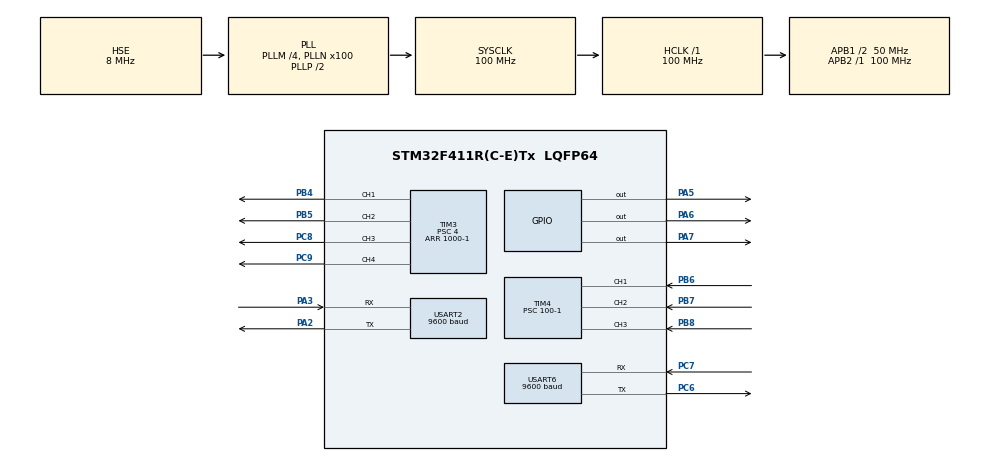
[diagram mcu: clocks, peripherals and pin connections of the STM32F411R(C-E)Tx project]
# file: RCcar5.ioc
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Mcu.Family=STM32F4
Mcu.Name=STM32F411R(C-E)Tx
Mcu.Package=LQFP64
NVIC.PriorityGroup=NVIC_PRIORITYGROUP_4
NVIC.TIM4_IRQn=true\:0\:0\:false\:false\:true\:true\:true\:true
NVIC.USART2_IRQn=true\:0\:0\:false\:false\:true\:true\:true\:true
NVIC.USART6_IRQn=true\:0\:0\:false\:false\:true\:true\:true\:true
PA13.Mode=Serial_Wire
PA13.Signal=SYS_JTMS-SWDIO
PA14.Mode=Serial_Wire
PA14.Signal=SYS_JTCK-SWCLK
PA2.Mode=Asynchronous
PA2.Signal=USART2_TX
PA3.Mode=Asynchronous
PA3.Signal=USART2_RX
PA5.GPIO_Speed=GPIO_SPEED_FREQ_VERY_HIGH
PA5.Signal=GPIO_Output
PA6.GPIO_Speed=GPIO_SPEED_FREQ_VERY_HIGH
PA6.Signal=GPIO_Output
PA7.GPIO_Speed=GPIO_SPEED_FREQ_VERY_HIGH
PA7.Signal=GPIO_Output
PB4.Signal=S_TIM3_CH1
PB5.Signal=S_TIM3_CH2
PB6.Signal=S_TIM4_CH1
PB7.Signal=S_TIM4_CH2
PB8.Signal=S_TIM4_CH3
PC6.Mode=Asynchronous
PC6.Signal=USART6_TX
PC7.Mode=Asynchronous
PC7.Signal=USART6_RX
PC8.Signal=S_TIM3_CH3
PC9.Signal=S_TIM3_CH4
PH0\ -\ OSC_IN.Mode=HSE-External-Oscillator
PH0\ -\ OSC_IN.Signal=RCC_OSC_IN
PH1\ -\ OSC_OUT.Mode=HSE-External-Oscillator
PH1\ -\ OSC_OUT.Signal=RCC_OSC_OUT
ProjectManager.HeapSize=0x200
ProjectManager.StackSize=0x400
ProjectManager.TargetToolchain=STM32CubeIDE
RCC.48MHZClocksFreq_Value=50000000
RCC.AHBFreq_Value=100000000
RCC.APB1CLKDivider=RCC_HCLK_DIV2
RCC.APB1Freq_Value=50000000
RCC.APB1TimFreq_Value=100000000
RCC.APB2Freq_Value=100000000
RCC.APB2TimFreq_Value=100000000
RCC.CortexFreq_Value=100000000
RCC.HCLKFreq_Value=100000000
RCC.HSE_VALUE=8000000
RCC.HSI_VALUE=16000000
RCC.LSE_VALUE=32768
RCC.PLLM=4
RCC.PLLN=100
RCC.PLLSourceVirtual=RCC_PLLSOURCE_HSE
RCC.SYSCLKFreq_VALUE=100000000
RCC.SYSCLKSource=RCC_SYSCLKSOURCE_PLLCLK
RCC.VCOOutputFreq_Value=200000000
SH.S_TIM3_CH1.0=TIM3_CH1,PWM Generation1 CH1
SH.S_TIM3_CH2.0=TIM3_CH2,PWM Generation2 CH2
SH.S_TIM3_CH3.0=TIM3_CH3,PWM Generation3 CH3
SH.S_TIM3_CH4.0=TIM3_CH4,PWM Generation4 CH4
SH.S_TIM4_CH1.0=TIM4_CH1,Input_Capture1_from_TI1
SH.S_TIM4_CH2.0=TIM4_CH2,Input_Capture2_from_TI2
SH.S_TIM4_CH3.0=TIM4_CH3,Input_Capture3_from_TI3
TIM11.Prescaler=100-1
TIM3.Channel-PWM\ Generation1\ CH1=TIM_CHANNEL_1
TIM3.Channel-PWM\ Generation2\ CH2=TIM_CHANNEL_2
TIM3.Channel-PWM\ Generation3\ CH3=TIM_CHANNEL_3
TIM3.Channel-PWM\ Generation4\ CH4=TIM_CHANNEL_4
TIM3.Period=1000-1
TIM3.Prescaler=4
TIM4.Channel-Input_Capture1_from_TI1=TIM_CHANNEL_1
TIM4.Channel-Input_Capture2_from_TI2=TIM_CHANNEL_2
TIM4.Channel-Input_Capture3_from_TI3=TIM_CHANNEL_3
TIM4.Prescaler=100-1
USART2.BaudRate=9600
USART2.VirtualMode=VM_ASYNC
USART6.BaudRate=9600
USART6.VirtualMode=VM_ASYNC
VP_TIM11_VS_ClockSourceINT.Mode=Enable_Timer
VP_TIM3_VS_ClockSourceINT.Mode=Internal
VP_TIM4_VS_ClockSourceINT.Mode=Internal
board=custom

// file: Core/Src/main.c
/* USER CODE BEGIN Header */
/**
  ******************************************************************************
  * @file           : main.c
  * @brief          : Main program body
  ******************************************************************************
  * @attention
  *
  * Copyright (c) 2025 STMicroelectronics.
  * All rights reserved.
  *
  * This software is licensed under terms that can be found in the LICENSE file
  * in the root directory of this software component.
  * If no LICENSE file comes with this software, it is provided AS-IS.
  *
  ******************************************************************************
  */
/* USER CODE END Header */
#include "main.h"
#include "tim.h"
#include "usart.h"
#include "gpio.h"

/* USER CODE BEGIN Includes */

#include "rcCar.h"
#include "ultrasonic.h"
#include "rcCar_auto.h"

/* USER CODE END Includes */

/* USER CODE BEGIN PV */
uint8_t rxData6;
uint8_t rxData2;

/* USER CODE END PV */

void SystemClock_Config(void);
/* USER CODE BEGIN PFP */

void HAL_UART_RxCpltCallback(UART_HandleTypeDef *huart)
{
	if(huart->Instance == USART2)
	{
	   HAL_UART_Receive_IT(&huart2, &rxData2, 1);
//	   printf("receive is ok");
	   HAL_UART_Transmit(&huart6, &rxData2, sizeof(rxData2), HAL_MAX_DELAY );
	}

	else if(huart->Instance == USART6)
    {
		HAL_UART_Receive_IT(&huart6, &rxData6, 1);
		HAL_UART_Transmit(&huart2, &rxData6, sizeof(rxData6), HAL_MAX_DELAY);
	}

}
	int _write(int file, unsigned char* p, int len)
	{
	    HAL_StatusTypeDef status = HAL_UART_Transmit(&huart2, p, len, 100);
	    return (status == HAL_OK ? len : 0);
	}

/* USER CODE END PFP */

int main(void)
{

  /* MCU Configuration--------------------------------------------------------*/

  /* Reset of all peripherals, Initializes the Flash interface and the Systick. */
  HAL_Init();

  /* Configure the system clock */
  SystemClock_Config();

  /* Initialize all configured peripherals */
  MX_GPIO_Init();
  MX_TIM3_Init();
  MX_USART2_UART_Init();
  MX_USART6_UART_Init();
  MX_TIM4_Init();
  MX_TIM11_Init();
  /* USER CODE BEGIN 2 */

  HAL_TIM_Base_Start(&htim11);  //for delay_us() Function
  HAL_TIM_IC_Start_IT(&htim4, TIM_CHANNEL_1);  //인터럽트면 콜백 이름 모르니까
  HAL_TIM_IC_Start_IT(&htim4, TIM_CHANNEL_2);
  HAL_TIM_IC_Start_IT(&htim4, TIM_CHANNEL_3);

  rcCar_init();

  HAL_TIM_PWM_Start(&htim3, TIM_CHANNEL_1);
  HAL_TIM_PWM_Start(&htim3, TIM_CHANNEL_2);
  HAL_TIM_PWM_Start(&htim3, TIM_CHANNEL_3);
  HAL_TIM_PWM_Start(&htim3, TIM_CHANNEL_4);

  HAL_UART_Receive_IT(&huart6, &rxData6, 1);
  HAL_UART_Receive_IT(&huart2, &rxData2, 1);

//  char msg[] = "AT+NAMEljs1\r\n";
//  HAL_UART_Transmit(&huart6, (uint8_t *)msg, strlen(msg), HAL_MAX_DELAY);
//
//  char confirm[] = "Name change command sent!\r\n";
//  HAL_UART_Transmit(&huart2, (uint8_t *)confirm, sizeof(confirm)-1, HAL_MAX_DELAY);

  /* USER CODE END 2 */

  /* Infinite loop */
  /* USER CODE BEGIN WHILE */
  while (1)
  {
//	  rcCar(rxData6);
	  HCSR04_TRIGGER(1);
	  HAL_Delay(60);
	  HCSR04_TRIGGER(2);
	  HAL_Delay(60);

	  rcCarAuto(distance1, distance2, distance3);

//      printf("Distance1 : %d cm\n",distance1);
//      printf("Distance2 : %d cm\n",distance2);
//      printf("Distance3 : %d cm\n",distance3);

    /* USER CODE END WHILE */

  }
}

void SystemClock_Config(void)
{
  RCC_OscInitTypeDef RCC_OscInitStruct = {0};
  RCC_ClkInitTypeDef RCC_ClkInitStruct = {0};

  /** Configure the main internal regulator output voltage
  */
  __HAL_RCC_PWR_CLK_ENABLE();
  __HAL_PWR_VOLTAGESCALING_CONFIG(PWR_REGULATOR_VOLTAGE_SCALE1);

  /** Initializes the RCC Oscillators according to the specified parameters
  * in the RCC_OscInitTypeDef structure.
  */
  RCC_OscInitStruct.OscillatorType = RCC_OSCILLATORTYPE_HSE;
  RCC_OscInitStruct.HSEState = RCC_HSE_ON;
  RCC_OscInitStruct.PLL.PLLState = RCC_PLL_ON;
  RCC_OscInitStruct.PLL.PLLSource = RCC_PLLSOURCE_HSE;
  RCC_OscInitStruct.PLL.PLLM = 4;
  RCC_OscInitStruct.PLL.PLLN = 100;
  RCC_OscInitStruct.PLL.PLLP = RCC_PLLP_DIV2;
  RCC_OscInitStruct.PLL.PLLQ = 4;
  if (HAL_RCC_OscConfig(&RCC_OscInitStruct) != HAL_OK)
  {
    Error_Handler();
  }

  /** Initializes the CPU, AHB and APB buses clocks
  */
  RCC_ClkInitStruct.ClockType = RCC_CLOCKTYPE_HCLK|RCC_CLOCKTYPE_SYSCLK
                              |RCC_CLOCKTYPE_PCLK1|RCC_CLOCKTYPE_PCLK2;
  RCC_ClkInitStruct.SYSCLKSource = RCC_SYSCLKSOURCE_PLLCLK;
  RCC_ClkInitStruct.AHBCLKDivider = RCC_SYSCLK_DIV1;
  RCC_ClkInitStruct.APB1CLKDivider = RCC_HCLK_DIV2;
  RCC_ClkInitStruct.APB2CLKDivider = RCC_HCLK_DIV1;

  if (HAL_RCC_ClockConfig(&RCC_ClkInitStruct, FLASH_LATENCY_3) != HAL_OK)
  {
    Error_Handler();
  }
}

void Error_Handler(void)
{
  __disable_irq();
  while (1)
  {
  }
}
